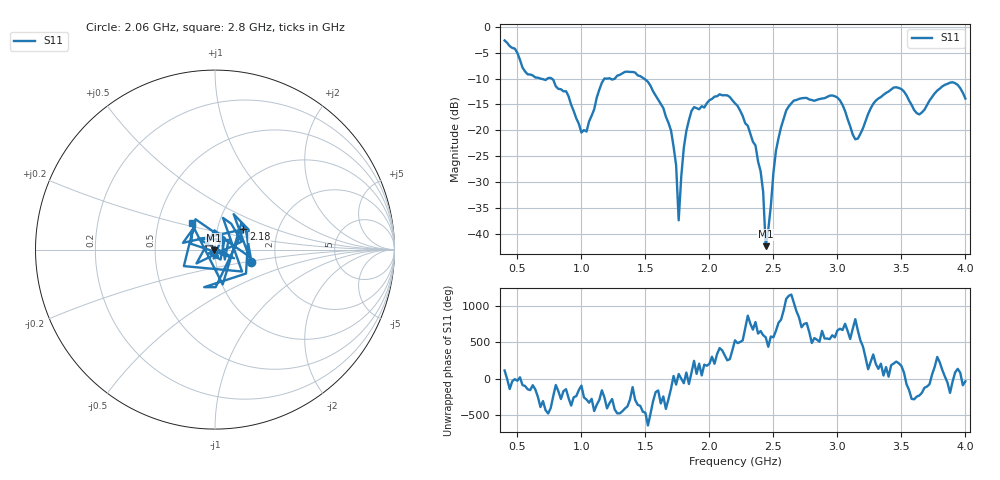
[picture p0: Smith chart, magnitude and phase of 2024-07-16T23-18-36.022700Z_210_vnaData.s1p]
!Created with skrf (http://scikit-rf.org).
# Hz S RI R 50.0
!freq ReS11 ImS11
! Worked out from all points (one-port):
!   181 points, 400 MHz to 4 GHz, reference 50 ohm
!   lowest |S11| = -42.3 dB at 2.44 GHz (marker M1), VSWR 1.02, Z = 49.3 - j0.374 ohm
!   |S11| at or under -10 dB: 678.6 MHz to 735.2 MHz (56.64 MHz wide, 8.01 % of centre); 767.3 MHz to 1.18 GHz (412.5 MHz wide, 42.4 % of centre); 1.488 GHz to end of sweep (the widest 3 of 5)
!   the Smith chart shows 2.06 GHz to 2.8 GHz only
!   S11 on the Smith chart (normalised r, x): 2.06 GHz: 1.49, -0.22; 2.18 GHz: 1.33, +0.31; 2.8 GHz: 0.74, +0.23
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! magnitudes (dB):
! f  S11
! 400 MHz  -2.7
! 860 MHz  -12.5
! 1.04 GHz  -20.2
! 1.16 GHz  -10.8
! 1.3 GHz  -9.3
! 1.5 GHz  -10.2
! 1.64 GHz  -15.7
! 1.74 GHz  -26.7
! 1.76 GHz  -37.4
! 1.8 GHz  -23.4
! 1.86 GHz  -16.3
! 2.06 GHz  -13.4
! 2.18 GHz  -14.2
! 2.2 GHz  -14.8
! 2.36 GHz  -22.9
! 2.42 GHz  -31.9
! 2.44 GHz  -42.3
! 2.52 GHz  -23.9
! 2.66 GHz  -14.2
! 2.8 GHz  -14.1
! 3 GHz  -13.7
! 3.1 GHz  -19.2
! 3.16 GHz  -21.6
! 3.44 GHz  -11.7
! 3.56 GHz  -14.3
! 3.64 GHz  -16.9
! 3.9 GHz  -10.7
! 4 GHz  -13.9
